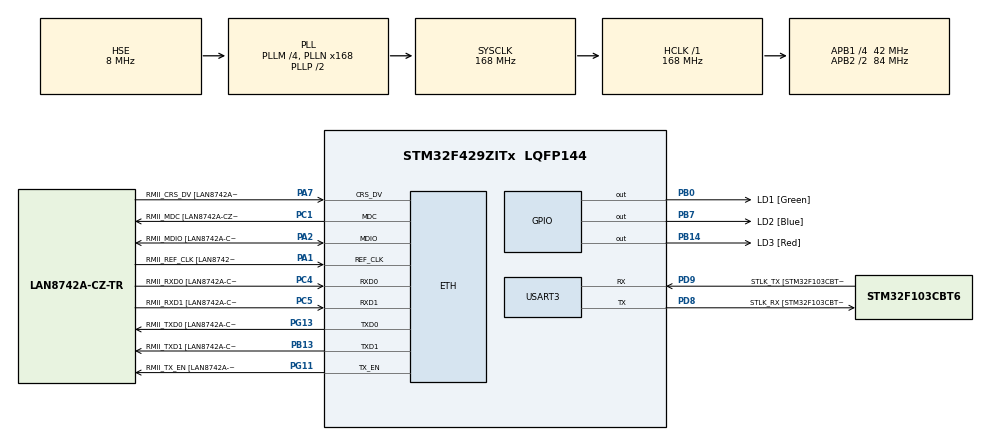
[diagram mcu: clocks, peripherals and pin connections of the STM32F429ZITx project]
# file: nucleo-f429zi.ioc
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ETH.MediaInterface=HAL_ETH_RMII_MODE
ETH.PHY_Name=LAN8742A_PHY_ADDRESS
ETH.PHY_Value=0
ETH.PhyAddress=0
ETH.RxMode=ETH_RXINTERRUPT_MODE
FREERTOS.HEAP_NUMBER=5
FREERTOS.Tasks01=defaultTask,0,128,StartDefaultTask,Default,NULL,Dynamic,NULL,NULL
FREERTOS.configUSE_NEWLIB_REENTRANT=1
Mcu.Family=STM32F4
Mcu.Name=STM32F429ZITx
Mcu.Package=LQFP144
NVIC.ETH_IRQn=true\:5\:0\:false\:false\:true\:true\:true\:true\:true
NVIC.PriorityGroup=NVIC_PRIORITYGROUP_4
NVIC.TIM1_UP_TIM10_IRQn=true\:15\:0\:false\:false\:true\:false\:false\:true\:true
NVIC.TimeBase=TIM1_UP_TIM10_IRQn
NVIC.TimeBaseIP=TIM1
PA1.GPIO_Label=RMII_REF_CLK [LAN8742A-CZ-TR_REFCLK0]
PA1.Mode=RMII
PA1.Signal=ETH_REF_CLK
PA13.GPIO_Label=TMS
PA13.Mode=Serial_Wire
PA13.Signal=SYS_JTMS-SWDIO
PA14.GPIO_Label=TCK
PA14.Mode=Serial_Wire
PA14.Signal=SYS_JTCK-SWCLK
PA2.GPIO_Label=RMII_MDIO [LAN8742A-CZ-TR_MDIO]
PA2.Mode=RMII
PA2.Signal=ETH_MDIO
PA7.GPIO_Label=RMII_CRS_DV [LAN8742A-CZ-TR_CRS_DV]
PA7.Mode=RMII
PA7.Signal=ETH_CRS_DV
PB0.GPIO_Label=LD1 [Green]
PB0.Signal=GPIO_Output
PB13.GPIO_Label=RMII_TXD1 [LAN8742A-CZ-TR_TXD1]
PB13.Mode=RMII
PB13.Signal=ETH_TXD1
PB14.GPIO_Label=LD3 [Red]
PB14.Signal=GPIO_Output
PB7.GPIO_Label=LD2 [Blue]
PB7.Signal=GPIO_Output
PC1.GPIO_Label=RMII_MDC [LAN8742A-CZ-TR_MDC]
PC1.Mode=RMII
PC1.Signal=ETH_MDC
PC14/OSC32_IN.Mode=LSE-External-Oscillator
PC14/OSC32_IN.Signal=RCC_OSC32_IN
PC15/OSC32_OUT.Mode=LSE-External-Oscillator
PC15/OSC32_OUT.Signal=RCC_OSC32_OUT
PC4.GPIO_Label=RMII_RXD0 [LAN8742A-CZ-TR_RXD0]
PC4.Mode=RMII
PC4.Signal=ETH_RXD0
PC5.GPIO_Label=RMII_RXD1 [LAN8742A-CZ-TR_RXD1]
PC5.Mode=RMII
PC5.Signal=ETH_RXD1
PD8.GPIO_Label=STLK_RX [STM32F103CBT6_PA3]
PD8.Mode=Asynchronous
PD8.Signal=USART3_TX
PD9.GPIO_Label=STLK_TX [STM32F103CBT6_PA2]
PD9.Mode=Asynchronous
PD9.Signal=USART3_RX
PG11.GPIO_Label=RMII_TX_EN [LAN8742A-CZ-TR_TXEN]
PG11.Mode=RMII
PG11.Signal=ETH_TX_EN
PG13.GPIO_Label=RMII_TXD0 [LAN8742A-CZ-TR_TXD0]
PG13.Mode=RMII
PG13.Signal=ETH_TXD0
PH0/OSC_IN.GPIO_Label=MCO [STM32F103CBT6_PA8]
PH0/OSC_IN.Mode=HSE-External-Clock-Source
PH0/OSC_IN.Signal=RCC_OSC_IN
PH1/OSC_OUT.Mode=HSE-External-Clock-Source
PH1/OSC_OUT.Signal=RCC_OSC_OUT
ProjectManager.HeapSize=0x200
ProjectManager.StackSize=0x400
ProjectManager.TargetToolchain=STM32CubeIDE
RCC.48MHZClocksFreq_Value=48000000
RCC.AHBFreq_Value=168000000
RCC.APB1CLKDivider=RCC_HCLK_DIV4
RCC.APB1Freq_Value=42000000
RCC.APB1TimFreq_Value=84000000
RCC.APB2CLKDivider=RCC_HCLK_DIV2
RCC.APB2Freq_Value=84000000
RCC.APB2TimFreq_Value=168000000
RCC.CortexFreq_Value=168000000
RCC.HCLKFreq_Value=168000000
RCC.HSE_VALUE=8000000
RCC.HSI_VALUE=16000000
RCC.PLLM=4
RCC.PLLMUL=RCC_PLL_MUL9
RCC.PLLN=168
RCC.PLLQ=7
RCC.PLLSourceVirtual=RCC_PLLSOURCE_HSE
RCC.PRESCALERUSB=RCC_USBCLKSOURCE_PLL_DIV1_5
RCC.SYSCLKFreq_VALUE=168000000
RCC.SYSCLKSource=RCC_SYSCLKSOURCE_PLLCLK
RCC.SYSCLKSourceVirtual=RCC_SYSCLKSOURCE_PLLCLK
RCC.USBFreq_Value=48000000
RCC.VCOOutputFreq_Value=336000000
USART3.VirtualMode=VM_ASYNC
VP_FREERTOS_VS_CMSIS_V1.Mode=CMSIS_V1
VP_RNG_VS_RNG.Mode=RNG_Activate
VP_SYS_VS_tim1.Mode=TIM1
board=NUCLEO-F429ZI

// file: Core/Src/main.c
/* USER CODE BEGIN Header */
/**
  ******************************************************************************
  * @file           : main.c
  * @brief          : Main program body
  ******************************************************************************
  * @attention
  *
  * Copyright (c) 2022 STMicroelectronics.
  * All rights reserved.
  *
  * This software is licensed under terms that can be found in the LICENSE file
  * in the root directory of this software component.
  * If no LICENSE file comes with this software, it is provided AS-IS.
  *
  ******************************************************************************
  */
/* USER CODE END Header */
#include "main.h"
#include "string.h"
#include "cmsis_os.h"

/* USER CODE BEGIN Includes */

#include "FreeRTOS_IP.h"
#include "SimpleTCPEchoServer.h"
#include "UDPLoggingPrintf.h"
#include "iperf_task.h"
/* USER CODE END Includes */

/* USER CODE BEGIN PD */
#define mainECHO_SERVER_TASK_PRIORITY	( tskIDLE_PRIORITY + 2 )
#define	mainECHO_SERVER_STACK_SIZE		( configMINIMAL_STACK_SIZE * 4 )
/* USER CODE END PD */

ETH_HandleTypeDef heth;

RNG_HandleTypeDef hrng;

UART_HandleTypeDef huart3;

osThreadId defaultTaskHandle;
/* USER CODE BEGIN PV */
static const uint8_t ucIPAddress[ 4 ] = { 10, 41, 16, 253 };
static const uint8_t ucNetMask[ 4 ] = { 255, 255, 255, 0 };
static const uint8_t ucGatewayAddress[ 4 ] = { 10, 41, 16, 1 };
static const uint8_t ucDNSServerAddress[ 4 ] = { 10, 13, 0, 18 };

static const uint8_t ucMACAddress[ 6 ] = { 0x00, 0x11, 0x22, 0x33, 0x44, 0x46 };
static UBaseType_t ulNextRand;
static BaseType_t xDoCreateSockets;
static BaseType_t xTasksAlreadyCreated = pdFALSE;
/* USER CODE END PV */

void SystemClock_Config(void);
static void MX_GPIO_Init(void);
static void MX_USART3_UART_Init(void);
static void MX_RNG_Init(void);
void StartDefaultTask(void const * argument);

/* USER CODE BEGIN PFP */

static void prvInitialiseHeap( void );
static void prvSRand( UBaseType_t ulSeed );
static void prvServerWorkTask( void *pvParameters );
/* USER CODE END PFP */

int main(void)
{

  /* MCU Configuration--------------------------------------------------------*/

  /* Reset of all peripherals, Initializes the Flash interface and the Systick. */
  HAL_Init();

  /* Configure the system clock */
  SystemClock_Config();

  /* Initialize all configured peripherals */
  MX_GPIO_Init();

  MX_USART3_UART_Init();
  MX_RNG_Init();
  /* USER CODE BEGIN 2 */

  prvInitialiseHeap();
  FreeRTOS_IPInit( ucIPAddress, ucNetMask, ucGatewayAddress, ucDNSServerAddress, ucMACAddress );
  /* USER CODE END 2 */

  /* Create the thread(s) */
  /* definition and creation of defaultTask */
  osThreadDef(defaultTask, StartDefaultTask, osPriorityNormal, 0, 128);
  defaultTaskHandle = osThreadCreate(osThread(defaultTask), NULL);

  /* USER CODE BEGIN RTOS_THREADS */
  /* add threads, ... */
  xTaskCreate( prvServerWorkTask, "SvrWork", 640, NULL, 1, NULL );
  /* USER CODE END RTOS_THREADS */

  /* Start scheduler */
  osKernelStart();

  /* We should never get here as control is now taken by the scheduler */
  /* Infinite loop */
  while (1)
  {

  }
}

void SystemClock_Config(void)
{
  RCC_OscInitTypeDef RCC_OscInitStruct = {0};
  RCC_ClkInitTypeDef RCC_ClkInitStruct = {0};

  /** Configure the main internal regulator output voltage
  */
  __HAL_RCC_PWR_CLK_ENABLE();
  __HAL_PWR_VOLTAGESCALING_CONFIG(PWR_REGULATOR_VOLTAGE_SCALE1);

  /** Initializes the RCC Oscillators according to the specified parameters
  * in the RCC_OscInitTypeDef structure.
  */
  RCC_OscInitStruct.OscillatorType = RCC_OSCILLATORTYPE_HSE;
  RCC_OscInitStruct.HSEState = RCC_HSE_BYPASS;
  RCC_OscInitStruct.PLL.PLLState = RCC_PLL_ON;
  RCC_OscInitStruct.PLL.PLLSource = RCC_PLLSOURCE_HSE;
  RCC_OscInitStruct.PLL.PLLM = 4;
  RCC_OscInitStruct.PLL.PLLN = 168;
  RCC_OscInitStruct.PLL.PLLP = RCC_PLLP_DIV2;
  RCC_OscInitStruct.PLL.PLLQ = 7;
  if (HAL_RCC_OscConfig(&RCC_OscInitStruct) != HAL_OK)
  {
    Error_Handler();
  }

  /** Initializes the CPU, AHB and APB buses clocks
  */
  RCC_ClkInitStruct.ClockType = RCC_CLOCKTYPE_HCLK|RCC_CLOCKTYPE_SYSCLK
                              |RCC_CLOCKTYPE_PCLK1|RCC_CLOCKTYPE_PCLK2;
  RCC_ClkInitStruct.SYSCLKSource = RCC_SYSCLKSOURCE_PLLCLK;
  RCC_ClkInitStruct.AHBCLKDivider = RCC_SYSCLK_DIV1;
  RCC_ClkInitStruct.APB1CLKDivider = RCC_HCLK_DIV4;
  RCC_ClkInitStruct.APB2CLKDivider = RCC_HCLK_DIV2;

  if (HAL_RCC_ClockConfig(&RCC_ClkInitStruct, FLASH_LATENCY_5) != HAL_OK)
  {
    Error_Handler();
  }
}

static void MX_RNG_Init(void)
{

  hrng.Instance = RNG;
  if (HAL_RNG_Init(&hrng) != HAL_OK)
  {
    Error_Handler();
  }

}

static void MX_USART3_UART_Init(void)
{

  huart3.Instance = USART3;
  huart3.Init.BaudRate = 115200;
  huart3.Init.WordLength = UART_WORDLENGTH_8B;
  huart3.Init.StopBits = UART_STOPBITS_1;
  huart3.Init.Parity = UART_PARITY_NONE;
  huart3.Init.Mode = UART_MODE_TX_RX;
  huart3.Init.HwFlowCtl = UART_HWCONTROL_NONE;
  huart3.Init.OverSampling = UART_OVERSAMPLING_16;
  if (HAL_UART_Init(&huart3) != HAL_OK)
  {
    Error_Handler();
  }

}

static void MX_GPIO_Init(void)
{
  GPIO_InitTypeDef GPIO_InitStruct = {0};

  /* GPIO Ports Clock Enable */
  __HAL_RCC_GPIOC_CLK_ENABLE();
  __HAL_RCC_GPIOH_CLK_ENABLE();
  __HAL_RCC_GPIOA_CLK_ENABLE();
  __HAL_RCC_GPIOB_CLK_ENABLE();
  __HAL_RCC_GPIOD_CLK_ENABLE();
  __HAL_RCC_GPIOG_CLK_ENABLE();

  /*Configure GPIO pin Output Level */
  HAL_GPIO_WritePin(GPIOB, LD1_Pin|LD3_Pin|LD2_Pin, GPIO_PIN_RESET);

  /*Configure GPIO pins : LD1_Pin LD3_Pin LD2_Pin */
  GPIO_InitStruct.Pin = LD1_Pin|LD3_Pin|LD2_Pin;
  GPIO_InitStruct.Mode = GPIO_MODE_OUTPUT_PP;
  GPIO_InitStruct.Pull = GPIO_NOPULL;
  GPIO_InitStruct.Speed = GPIO_SPEED_FREQ_LOW;
  HAL_GPIO_Init(GPIOB, &GPIO_InitStruct);

}

/* USER CODE BEGIN 4 */
static void prvInitialiseHeap( void )
{
extern uint8_t __bss_end__, _estack;
#define HEAP_START		__bss_end__
#define HEAP_END		_estack

volatile uint32_t ulHeapSize;
volatile uint8_t *pucHeapStart;

	/* Heap_5 is used so the maximum heap size can be calculated and initialised
	at run time. */
	pucHeapStart = ( uint8_t * ) ( ( ( ( uint32_t ) &HEAP_START ) + 7 ) & ~0x07ul );

	ulHeapSize = ( uint32_t ) ( &HEAP_END - &HEAP_START );
	ulHeapSize &= ~0x07ul;
	ulHeapSize -= 1024;

	HeapRegion_t xHeapRegions[] =
	{
		{ ( unsigned char *) pucHeapStart, ulHeapSize },
		{ NULL, 0 }
 	};

	vPortDefineHeapRegions( xHeapRegions );
}

/* Called by FreeRTOS+TCP when the network connects or disconnects.  Disconnect
events are only received if implemented in the MAC driver. */
void vApplicationIPNetworkEventHook( eIPCallbackEvent_t eNetworkEvent )
{
uint32_t ulIPAddress, ulNetMask, ulGatewayAddress, ulDNSServerAddress;
char cBuffer[ 16 ];

	FreeRTOS_printf( ( "vApplicationIPNetworkEventHook: event %ld\n", eNetworkEvent ) );

	/* If the network has just come up...*/
	if( eNetworkEvent == eNetworkUp )
	{
		/* Create the tasks that use the IP stack if they have not already been
		created. */
		if( xTasksAlreadyCreated == pdFALSE )
		{
			/* Tasks that use the TCP/IP stack can be created here. */
			vStartSimpleTCPServerTasks( mainECHO_SERVER_STACK_SIZE, mainECHO_SERVER_TASK_PRIORITY );
			xTasksAlreadyCreated = pdTRUE;
			xDoCreateSockets = pdTRUE;
		}

		/* Print out the network configuration, which may have come from a DHCP
		server. */
		FreeRTOS_GetAddressConfiguration( &ulIPAddress, &ulNetMask, &ulGatewayAddress, &ulDNSServerAddress );
		FreeRTOS_inet_ntoa( ulIPAddress, cBuffer );
		FreeRTOS_printf( ( "IP Address: %s\n", cBuffer ) );

		FreeRTOS_inet_ntoa( ulNetMask, cBuffer );
		FreeRTOS_printf( ( "Subnet Mask: %s\n", cBuffer ) );

		FreeRTOS_inet_ntoa( ulGatewayAddress, cBuffer );
		FreeRTOS_printf( ( "Gateway Address: %s\n", cBuffer ) );

		FreeRTOS_inet_ntoa( ulDNSServerAddress, cBuffer );
		FreeRTOS_printf( ( "DNS Server Address: %s\n", cBuffer ) );
	}
}
/*-----------------------------------------------------------*/

void vApplicationMallocFailedHook( void )
{
volatile uint32_t ulMallocFailures = 0;

	/* Called if a call to pvPortMalloc() fails because there is insufficient
	free memory available in the FreeRTOS heap.  pvPortMalloc() is called
	internally by FreeRTOS API functions that create tasks, queues, software
	timers, and semaphores.  The size of the FreeRTOS heap is set by the
	configTOTAL_HEAP_SIZE configuration constant in FreeRTOSConfig.h. */
	ulMallocFailures++;
}
/*-----------------------------------------------------------*/

void vApplicationStackOverflowHook( TaskHandle_t pxTask, char *pcTaskName )
{
	( void ) pcTaskName;
	( void ) pxTask;

	/* Run time stack overflow checking is performed if
	configCHECK_FOR_STACK_OVERFLOW is defined to 1 or 2.  This hook
	function is called if a stack overflow is detected. */
	taskDISABLE_INTERRUPTS();
	for( ;; );
}

UBaseType_t uxRand( void )
{
const uint32_t ulMultiplier = 0x015a4e35UL, ulIncrement = 1UL;
static BaseType_t xInitialised = pdFALSE;

	/* Don't initialise until the scheduler is running, as the timeout in the
	random number generator uses the tick count. */
	if( xInitialised == pdFALSE )
	{
		if( xTaskGetSchedulerState() !=  taskSCHEDULER_NOT_STARTED )
		{
		RNG_HandleTypeDef xRND;
		uint32_t ulSeed;

			/* Generate a random number with which to seed the local pseudo random
			number generating function. */
			HAL_RNG_Init( &xRND );
			HAL_RNG_GenerateRandomNumber( &xRND, &ulSeed );
			prvSRand( ulSeed );
			xInitialised = pdTRUE;
		}
	}

	/* Utility function to generate a pseudo random number. */

	ulNextRand = ( ulMultiplier * ulNextRand ) + ulIncrement;
	return( ( int ) ( ulNextRand >> 16UL ) & 0x7fffUL );
}

static void prvSRand( UBaseType_t ulSeed )
{
	/* Utility function to seed the pseudo random number generator. */
	ulNextRand = ulSeed;
}

BaseType_t xApplicationGetRandomNumber( uint32_t * pulNumber )
{
    *pulNumber = uxRand();

    return pdTRUE;
}

const char *pcApplicationHostnameHook( void )
{
	/* Assign the name "NUCLEO-F42" to this network node.  This function will be
	called during the DHCP: the machine will be registered with an IP address
	plus this name. */
	return "NUCLEO-F429";
}

BaseType_t xApplicationDNSQueryHook( const char *pcName )
{
BaseType_t xReturn;
	/* Determine if a name lookup is for this node.  Two names are given
	to this node: that returned by pcApplicationHostnameHook() and that set
	by mainDEVICE_NICK_NAME. */
	if( strcasecmp( pcName, pcApplicationHostnameHook() ) == 0 )
	{
		xReturn = pdPASS;
	}
	else if( strcasecmp( pcName, "NUCLEO-F429" ) == 0 )
	{
		xReturn = pdPASS;
	}
	else
	{
		xReturn = pdFAIL;
	}

	return xReturn;
}

void vApplicationPingReplyHook( ePingReplyStatus_t eStatus, uint16_t usIdentifier )
{
}

uint32_t ulApplicationGetNextSequenceNumber(uint32_t ulSourceAddress,
		uint16_t usSourcePort, uint32_t ulDestinationAddress,
		uint16_t usDestinationPort) {
	(void) ulSourceAddress;
	(void) usSourcePort;
	(void) ulDestinationAddress;
	(void) usDestinationPort;

	return uxRand();
}

static void prvServerWorkTask( void *pvParameters )
{
#if( CONTINUOUS_PING != 0 )
	/* CONTINUOUS_PING can be used while testing the network driver. */
	uint32_t ulIPAddress = FreeRTOS_inet_addr_quick( 192, 168, 2, 5 );
	size_t uxNumberOfBytesToSend = 16;
	TickType_t uxBlockTimeTicks = ipMS_TO_MIN_TICKS( 100U );
#endif	/* ( CONTINUOUS_PING != 0 ) */

	for( ;; )
	{
		vTaskDelay( 10U );
		if( xDoCreateSockets != pdFALSE )
		{
			xDoCreateSockets = pdFALSE;
			/* Start a new task to fetch logging lines and send them out.
			See FreeRTOSConfig.h for the configuration of UDP logging. */
			vUDPLoggingTaskCreate();
			vIPerfInstall();
			#if( USE_LOG_EVENT != 0 )
			{
				iEventLogInit();
			}
			#endif
		}

		#if( CONTINUOUS_PING != 0 )
		{
			if( xTasksAlreadyCreated != pdFALSE )
			{
				FreeRTOS_SendPingRequest( ulIPAddress, uxNumberOfBytesToSend, uxBlockTimeTicks );
			}
		}
		#endif
	}
}
/* USER CODE END 4 */

void StartDefaultTask(void const * argument)
{
  for(;;)
  {
    osDelay(1);
  }
}

void HAL_TIM_PeriodElapsedCallback(TIM_HandleTypeDef *htim)
{
  if (htim->Instance == TIM1) {
    HAL_IncTick();
  }
}

void Error_Handler(void)
{
  __disable_irq();
  while (1)
  {
  }
}
